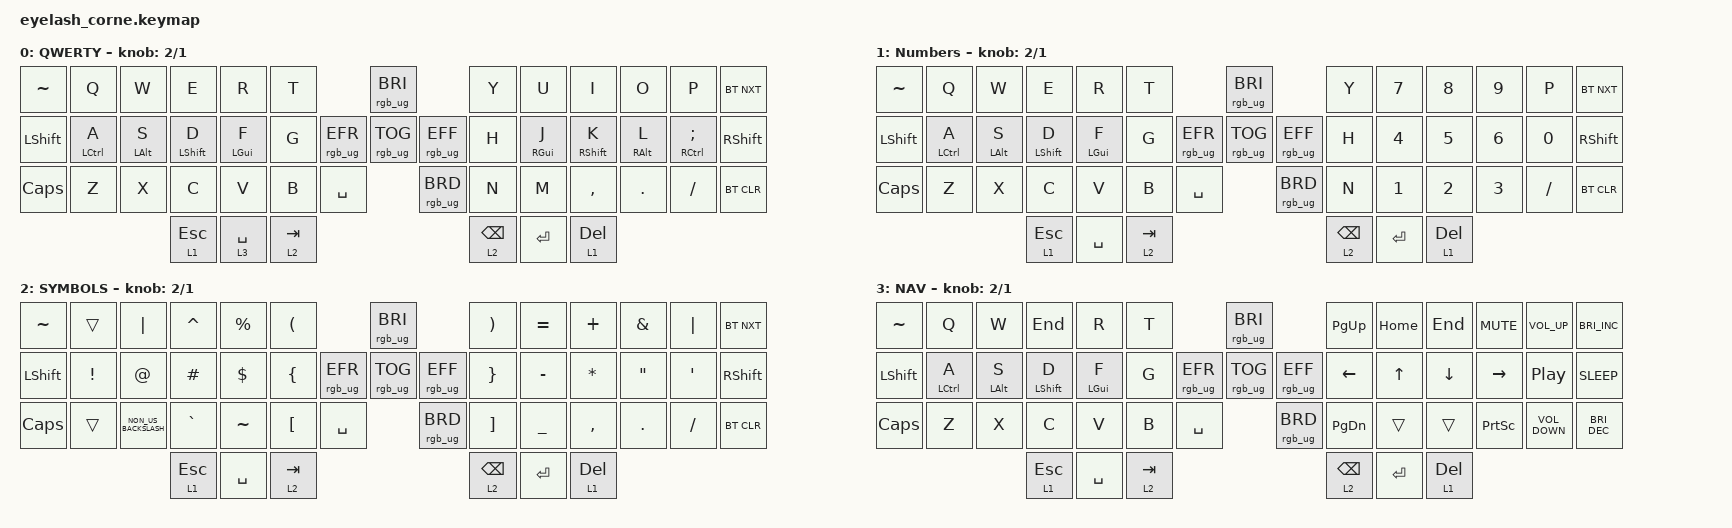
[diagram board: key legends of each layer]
#define ZMK_POINTING_DEFAULT_MOVE_VAL 1200  // 600
#define ZMK_POINTING_DEFAULT_SCRL_VAL 25   // 10

#include <input/processors.dtsi>
#include <zephyr/dt-bindings/input/input-event-codes.h>
#include <behaviors.dtsi>
#include <dt-bindings/zmk/bt.h>
#include <dt-bindings/zmk/keys.h>
#include <dt-bindings/zmk/pointing.h>
#include <dt-bindings/zmk/rgb.h>

&mmv_input_listener { input-processors = <&zip_xy_scaler 2 1>; };

&msc_input_listener { input-processors = <&zip_scroll_scaler 2 1>; };

&msc {
    acceleration-exponent = <1>;      // 0
    time-to-max-speed-ms = <100>;       // 300
    delay-ms = <0>;                   // 0
};

&mmv {
    time-to-max-speed-ms = <500>;
    acceleration-exponent = <1>;
    trigger-period-ms = <16>;
};

/ {
    behaviors {
        td0: td0 {
            compatible = "zmk,behavior-tap-dance";
            display-name = "Shift/Caps Lock Tap Dance";
            #binding-cells = <0>;
            bindings = <&kp LEFT_SHIFT>, <&kp CAPS>;
        };

        hml: hml {
            compatible = "zmk,behavior-hold-tap";
            label = "HML";
            bindings = <&kp>, <&kp>;

            #binding-cells = <2>;
            tapping-term-ms = <250>;
            quick-tap-ms = <150>;
            require-prior-idle-ms = <100>;
            flavor = "balanced";
            hold-trigger-key-positions = <7 8 9 10 11 12 22 23 24 25 26 27 36 37 38 39 40 41 45 46 47 42 43 44>;
            hold-trigger-on-release;
        };

        hmr: hmr {
            compatible = "zmk,behavior-hold-tap";
            label = "HMR";
            bindings = <&kp>, <&kp>;

            #binding-cells = <2>;
            tapping-term-ms = <250>;
            quick-tap-ms = <150>;
            require-prior-idle-ms = <100>;
            flavor = "balanced";
            hold-trigger-on-release;
            hold-trigger-key-positions = <0 1 2 3 4 5 13 14 15 16 17 18 28 29 30 31 32 33 34 42 43 44 45 46 47>;
        };
    };

    rgb_encoder: rgb_encoder {
        compatible = "zmk,behavior-sensor-rotate";
        #sensor-binding-cells = <0>;
        bindings = <&rgb_ug RGB_BRI>, <&rgb_ug RGB_BRD>;
    };

    scroll_encoder: scroll_encoder {
        compatible = "zmk,behavior-sensor-rotate";
        #sensor-binding-cells = <0>;
        bindings = <&msc SCRL_DOWN>, <&msc SCRL_UP>;

        tap-ms = <100>;
    };

    keymap {
        compatible = "zmk,keymap";

        default_layer {
            display-name = "QWERTY";
            bindings = <
&kp TILDE       &kp Q                &kp W            &kp E              &kp R            &kp T                                    &rgb_ug RGB_BRI                   &kp Y            &kp U             &kp I               &kp O             &kp P                    &bt BT_NXT
&kp LEFT_SHIFT  &hml LEFT_CONTROL A  &hml LEFT_ALT S  &hml LEFT_SHIFT D  &hml LEFT_GUI F  &kp G                   &rgb_ug RGB_EFR  &rgb_ug RGB_TOG  &rgb_ug RGB_EFF  &kp H            &hmr RIGHT_GUI J  &hmr RIGHT_SHIFT K  &hmr RIGHT_ALT L  &hmr RIGHT_CONTROL SEMI  &kp RIGHT_SHIFT
&kp CAPSLOCK    &kp Z                &kp X            &kp C              &kp V            &kp B      &kp SPACE                     &rgb_ug RGB_BRD                   &kp N            &kp M             &kp COMMA           &kp DOT           &kp FSLH                 &bt BT_CLR
                                                      &lt 1 ESCAPE       &lt 3 SPACE      &lt 2 TAB                                                                  &lt 2 BACKSPACE  &kp ENTER         &lt 1 DELETE
            >;

            // sensor-bindings = <&inc_dec_kp C_VOLUME_UP C_VOLUME_DOWN>;

            sensor-bindings = <&inc_dec_kp N2 N1>;
        };

        layer_numbers {
            display-name = "Numbers";
            bindings = <
&kp TILDE       &kp Q                &kp W            &kp E              &kp R            &kp T                                    &rgb_ug RGB_BRI                   &kp Y            &kp N7        &kp N8        &kp N9        &kp P     &bt BT_NXT
&kp LEFT_SHIFT  &hml LEFT_CONTROL A  &hml LEFT_ALT S  &hml LEFT_SHIFT D  &hml LEFT_GUI F  &kp G                   &rgb_ug RGB_EFR  &rgb_ug RGB_TOG  &rgb_ug RGB_EFF  &kp H            &kp NUMBER_4  &kp N5        &kp NUMBER_6  &kp N0    &kp RIGHT_SHIFT
&kp CAPSLOCK    &kp Z                &kp X            &kp C              &kp V            &kp B      &kp SPACE                     &rgb_ug RGB_BRD                   &kp N            &kp NUMBER_1  &kp NUMBER_2  &kp NUMBER_3  &kp FSLH  &bt BT_CLR
                                                      &lt 1 ESCAPE       &kp SPACE        &lt 2 TAB                                                                  &lt 2 BACKSPACE  &kp ENTER     &lt 1 DELETE
            >;

            sensor-bindings = <&inc_dec_kp N2 N1>;
        };

        layer_symbols {
            display-name = "SYMBOLS";
            bindings = <
&kp TILDE       &trans           &kp PIPE              &kp CARET     &kp PERCENT  &kp LEFT_PARENTHESIS                                &rgb_ug RGB_BRI                   &kp RIGHT_PARENTHESIS  &kp EQUAL       &kp PLUS      &kp AMPERSAND      &kp PIPE          &bt BT_NXT
&kp LEFT_SHIFT  &kp EXCLAMATION  &kp AT_SIGN           &kp HASH      &kp DOLLAR   &kp LEFT_BRACE                     &rgb_ug RGB_EFR  &rgb_ug RGB_TOG  &rgb_ug RGB_EFF  &kp RIGHT_BRACE        &kp MINUS       &kp ASTERISK  &kp DOUBLE_QUOTES  &kp SINGLE_QUOTE  &kp RIGHT_SHIFT
&kp CAPSLOCK    &trans           &kp NON_US_BACKSLASH  &kp GRAVE     &kp TILDE    &kp LEFT_BRACKET      &kp SPACE                     &rgb_ug RGB_BRD                   &kp RIGHT_BRACKET      &kp UNDERSCORE  &kp COMMA     &kp DOT            &kp FSLH          &bt BT_CLR
                                                       &lt 1 ESCAPE  &kp SPACE    &lt 2 TAB                                                                             &lt 2 BACKSPACE        &kp ENTER       &lt 1 DELETE
            >;

            sensor-bindings = <&inc_dec_kp N2 N1>;
        };

        layer_nav {
            display-name = "NAV";
            bindings = <
&kp TILDE       &kp Q                &kp W            &kp END            &kp R            &kp T                                    &rgb_ug RGB_BRI                   &kp PAGE_UP      &kp HOME      &kp END         &kp K_MUTE       &kp C_VOLUME_UP    &kp C_BRIGHTNESS_INC
&kp LEFT_SHIFT  &hml LEFT_CONTROL A  &hml LEFT_ALT S  &hml LEFT_SHIFT D  &hml LEFT_GUI F  &kp G                   &rgb_ug RGB_EFR  &rgb_ug RGB_TOG  &rgb_ug RGB_EFF  &kp LEFT_ARROW   &kp UP_ARROW  &kp DOWN_ARROW  &kp RIGHT_ARROW  &kp C_PLAY_PAUSE   &kp K_SLEEP
&kp CAPSLOCK    &kp Z                &kp X            &kp C              &kp V            &kp B      &kp SPACE                     &rgb_ug RGB_BRD                   &kp PAGE_DOWN    &trans        &trans          &kp PRINTSCREEN  &kp C_VOLUME_DOWN  &kp C_BRIGHTNESS_DEC
                                                      &lt 1 ESCAPE       &kp SPACE        &lt 2 TAB                                                                  &lt 2 BACKSPACE  &kp ENTER     &lt 1 DELETE
            >;

            sensor-bindings = <&inc_dec_kp N2 N1>;
        };
    };
};
